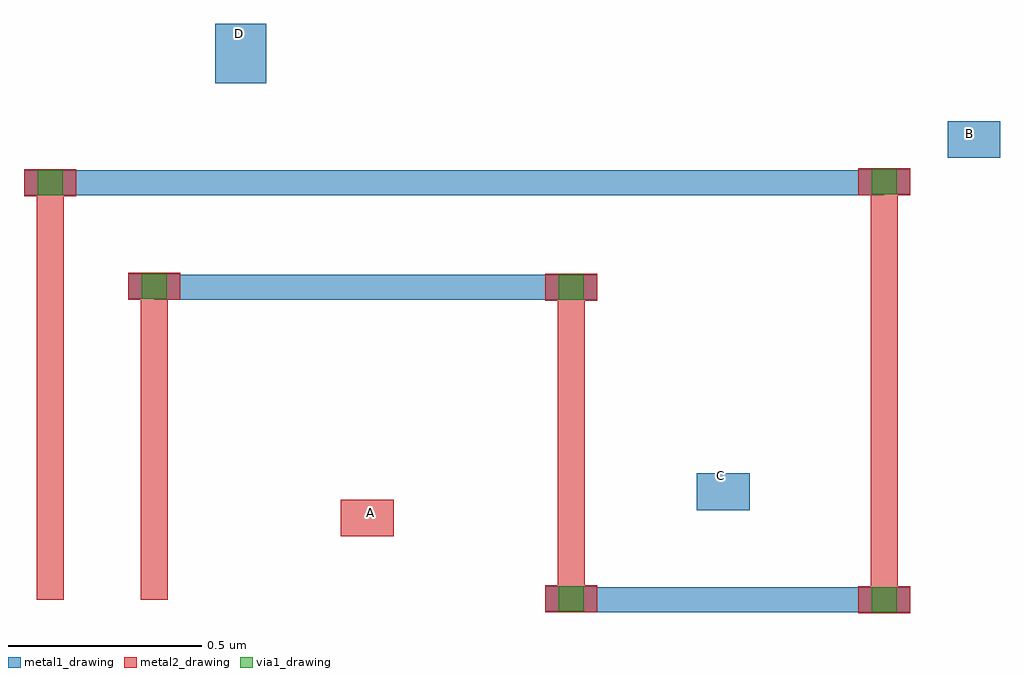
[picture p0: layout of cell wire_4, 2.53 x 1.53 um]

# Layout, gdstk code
from math import pi, radians
import gdstk
lib = gdstk.Library(unit=1e-6, precision=5e-10)
def R(c, l, rs):  # rectangles x0, y0, x1, y1
    for r in rs: c.add(gdstk.rectangle(r[:2], r[2:], *l))
metal1_drawing = (11, 0)
via1_drawing = (12, 0)
metal2_drawing = (13, 0)

via1_1x1_num8 = lib.new_cell('via1_1x1_num8')
R(via1_1x1_num8, metal1_drawing, [(0.0025,0,0.0675,0.135)])
R(via1_1x1_num8, via1_drawing, [(0.0025,0.035,0.0675,0.1)])
R(via1_1x1_num8, metal2_drawing, [(0,0,0.07,0.135)])

wire_4 = lib.new_cell('wire_4')
R(wire_4, metal1_drawing, [(-0.25,-0.4025,0.56,-0.3375), (0.525,-0.4025,0.595,-0.3375), (-0.285,-0.4,-0.215,-0.335), (0.075,-0.1375,0.2125,-0.0425), (-1.33,0.4075,-1.06,0.4725), (-1.06,0.4075,-0.25,0.4725), (-0.285,0.4075,-0.215,0.4725), (-1.365,0.41,-1.295,0.475), (-1.635,0.6775,-1.565,0.7425), (-1.6,0.6775,0.56,0.7425), (0.525,0.68,0.595,0.745), (0.725,0.775,0.86,0.87), (-1.1725,0.9675,-1.04,1.1225)])
R(wire_4, metal2_drawing, [(0.525,-0.4025,0.595,-0.3375), (-0.285,-0.4,-0.215,-0.335), (-1.635,-0.37,-1.565,0.71), (-1.365,-0.37,-1.295,0.44), (-0.285,-0.37,-0.215,0.44), (0.525,-0.37,0.595,0.71), (-0.8475,-0.205,-0.71,-0.11), (-0.285,0.4075,-0.215,0.4725), (-1.365,0.41,-1.295,0.475), (-1.635,0.6775,-1.565,0.7425), (0.525,0.68,0.595,0.745)])
wire_4.add(gdstk.Reference(via1_1x1_num8, (-1.2625,0.4075), rotation=pi/2))
wire_4.add(gdstk.Reference(via1_1x1_num8, (-0.1825,0.405), rotation=pi/2))
wire_4.add(gdstk.Reference(via1_1x1_num8, (-0.1825,-0.4025), rotation=pi/2))
wire_4.add(gdstk.Reference(via1_1x1_num8, (0.6275,-0.405), rotation=pi/2))
wire_4.add(gdstk.Reference(via1_1x1_num8, (0.6275,0.6775), rotation=pi/2))
wire_4.add(gdstk.Reference(via1_1x1_num8, (-1.5325,0.675), rotation=pi/2))
wire_4.add(gdstk.Label('C', (0.135,-0.0485), layer=11, texttype=0))
wire_4.add(gdstk.Label('B', (0.782,0.839), layer=11, texttype=0))
wire_4.add(gdstk.Label('D', (-1.1105,1.097), layer=11, texttype=0))
wire_4.add(gdstk.Label('A', (-0.771,-0.144), layer=13, texttype=0))

lib.write_gds('wire_4.gds')
